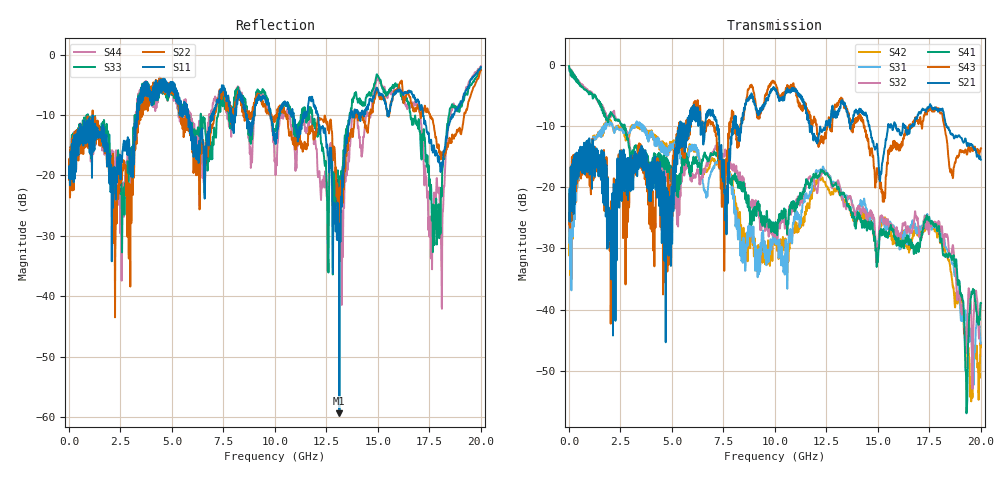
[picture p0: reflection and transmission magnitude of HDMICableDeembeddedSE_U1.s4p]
! File created by SignalIntegrity v1.1.4: Signal and Power Integrity Tools
! https://github.com/TeledyneLeCroy/SignalIntegrity
# MHz MA S R 50.0
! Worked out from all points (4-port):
!   2000 points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, 10 MHz to 20 GHz, reference 50 ohm
!   strongest paths, dB at 10 MHz, 5.01 GHz, 10.01 GHz, 15.01 GHz, 20 GHz:
!     S21: -25.5, -29.2, -4.0, -14.9, -15.5
!     S43: -26.1, -21.6, -3.0, -17.2, -13.7
!     S41: -0.3, -18.6, -26.9, -31.3, -38.9
!     S32: -0.4, -21.1, -27.2, -29.1, -38.9
!     S31: -29.1, -13.3, -29.1, -29.2, -45.5
!     S42: -31.1, -13.4, -29.2, -30.5, -46.1
!   lowest |S11| = -59.4 dB at 13.13 GHz (marker M1), VSWR 1.00, Z = 49.9 + j0.0848 ohm
!   |S11| at or under -10 dB: start of sweep to 3.296 GHz; 12.1 GHz to 13.68 GHz (1.579 GHz wide, 12.3 % of centre); 17.19 GHz to 18.61 GHz (1.412 GHz wide, 7.89 % of centre)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
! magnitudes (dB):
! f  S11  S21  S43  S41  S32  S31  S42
! 10 MHz  -20.4  -25.5  -26.1  -0.3  -0.4  -29.1  -31.1
! 1.92 GHz  -18.2  -26.4  -26.5  -8.8  -8.5  -9.6  -9.1
! 11.76 GHz  -7.7  -10.8  -9.7  -18.6  -18.5  -20.8  -21.1
! 13.13 GHz  -59.4  -7.5  -6.0  -20.6  -19.5  -20.0  -21.1
! 15.03 GHz  -6.2  -15.6  -17.4  -29.9  -28.8  -30.0  -29.6
! 18.09 GHz  -19.1  -7.5  -7.9  -28.5  -26.5  -27.6  -27.5
! 20 GHz  -2.1  -15.5  -13.7  -38.9  -38.9  -45.5  -46.1
